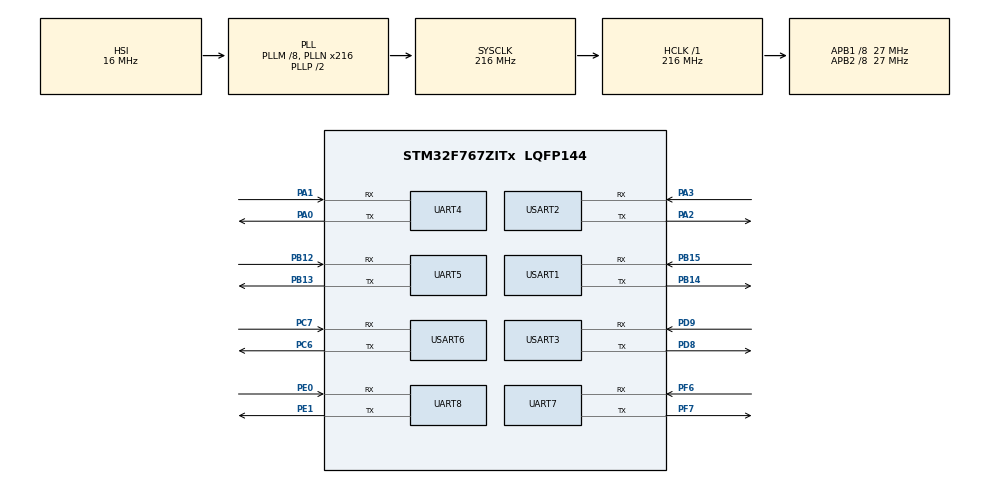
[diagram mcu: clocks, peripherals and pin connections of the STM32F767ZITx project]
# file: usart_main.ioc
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CORTEX_M7.default_mode_Activation=1
Mcu.Family=STM32F7
Mcu.Name=STM32F767ZITx
Mcu.Package=LQFP144
NVIC.PriorityGroup=NVIC_PRIORITYGROUP_4
PA0/WKUP.Mode=Asynchronous
PA0/WKUP.Signal=UART4_TX
PA1.Mode=Asynchronous
PA1.Signal=UART4_RX
PA2.Mode=Asynchronous
PA2.Signal=USART2_TX
PA3.Mode=Asynchronous
PA3.Signal=USART2_RX
PB12.Mode=Asynchronous
PB12.Signal=UART5_RX
PB13.Mode=Asynchronous
PB13.Signal=UART5_TX
PB14.Mode=Asynchronous
PB14.Signal=USART1_TX
PB15.Mode=Asynchronous
PB15.Signal=USART1_RX
PC6.Mode=Asynchronous
PC6.Signal=USART6_TX
PC7.Mode=Asynchronous
PC7.Signal=USART6_RX
PD8.Mode=Asynchronous
PD8.Signal=USART3_TX
PD9.Mode=Asynchronous
PD9.Signal=USART3_RX
PE0.Mode=Asynchronous
PE0.Signal=UART8_RX
PE1.Mode=Asynchronous
PE1.Signal=UART8_TX
PF6.Mode=Asynchronous
PF6.Signal=UART7_RX
PF7.Mode=Asynchronous
PF7.Signal=UART7_TX
ProjectManager.HeapSize=0x200
ProjectManager.StackSize=0x400
ProjectManager.TargetToolchain=STM32CubeIDE
RCC.AHBFreq_Value=216000000
RCC.APB1CLKDivider=RCC_HCLK_DIV8
RCC.APB1Freq_Value=27000000
RCC.APB1TimFreq_Value=54000000
RCC.APB2CLKDivider=RCC_HCLK_DIV8
RCC.APB2Freq_Value=27000000
RCC.APB2TimFreq_Value=54000000
RCC.CodegenConfigPeriph=true
RCC.CortexFreq_Value=216000000
RCC.DATA_CACHE_ENABLE=1
RCC.HCLKFreq_Value=216000000
RCC.HSE_VALUE=25000000
RCC.HSI_VALUE=16000000
RCC.INSTRUCTION_CACHE_ENABLE=1
RCC.LSE_Drive_CapabilityArg=+LSE_Drive_Capability
RCC.LSE_VALUE=32768
RCC.PLLM=8
RCC.PLLN=216
RCC.PREFETCH_ENABLE=1
RCC.SYSCLKFreq_VALUE=216000000
RCC.SYSCLKSource=RCC_SYSCLKSOURCE_PLLCLK
RCC.USBFreq_Value=216000000
RCC.VCOOutputFreq_Value=432000000
USART1.VirtualMode-Asynchronous=VM_ASYNC
USART2.VirtualMode-Asynchronous=VM_ASYNC
USART3.VirtualMode-Asynchronous=VM_ASYNC
USART6.VirtualMode-Asynchronous=VM_ASYNC
board=custom

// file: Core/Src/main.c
/* USER CODE BEGIN Header */
/**
  ******************************************************************************
  * @file           : main.c
  * @brief          : Main program body
  ******************************************************************************
  * @attention
  *
  * Copyright (c) 2025 STMicroelectronics.
  * All rights reserved.
  *
  * This software is licensed under terms that can be found in the LICENSE file
  * in the root directory of this software component.
  * If no LICENSE file comes with this software, it is provided AS-IS.
  *
  ******************************************************************************
  */
/* USER CODE END Header */
#include "main.h"

UART_HandleTypeDef huart4;
UART_HandleTypeDef huart5;
UART_HandleTypeDef huart7;
UART_HandleTypeDef huart8;
UART_HandleTypeDef huart1;
UART_HandleTypeDef huart2;
UART_HandleTypeDef huart3;
UART_HandleTypeDef huart6;

/* USER CODE BEGIN PV */
uint8_t MSG[35] = {'\0'};
union d_float {
  uint8_t raw_data[4];
  float value;
};
UART_HandleTypeDef* motor_controller[6];
/* USER CODE END PV */

void SystemClock_Config(void);
static void MPU_Config(void);
static void MX_GPIO_Init(void);
static void MX_UART4_Init(void);
static void MX_UART5_Init(void);
static void MX_UART7_Init(void);
static void MX_UART8_Init(void);
static void MX_USART1_UART_Init(void);
static void MX_USART2_UART_Init(void);
static void MX_USART3_UART_Init(void);
static void MX_USART6_UART_Init(void);

int main(void)
{

  /* USER CODE BEGIN 1 */
	motor_controller[0]=&huart4;
	motor_controller[1]=&huart7;
	motor_controller[2]=&huart6;
	motor_controller[3]=&huart2;
	motor_controller[4]=&huart1;
	motor_controller[5]=&huart5;
	uint8_t controllbyte;
	uint8_t buffer_down[24];
	uint8_t buffer_up[24];

  /* USER CODE END 1 */

  /* MPU Configuration--------------------------------------------------------*/
  MPU_Config();

  /* MCU Configuration--------------------------------------------------------*/

  /* Reset of all peripherals, Initializes the Flash interface and the Systick. */
  HAL_Init();

  /* Configure the system clock */
  SystemClock_Config();

  /* Initialize all configured peripherals */
  MX_GPIO_Init();
  MX_UART4_Init();
  MX_UART5_Init();
  MX_UART7_Init();
  MX_UART8_Init();
  MX_USART1_UART_Init();
  MX_USART2_UART_Init();
  MX_USART3_UART_Init();
  MX_USART6_UART_Init();
  /* USER CODE BEGIN 2 */
  for(int i=0;i<24;i++){
	  buffer_up[i]=0;
	  buffer_down[i]=0;
  }
  float temp=256.0;
  for(int i=0;i<6;i++){
	  memcpy(&buffer_up[i*4],&temp,4);
  }
  /* USER CODE END 2 */

  /* Infinite loop */
  /* USER CODE BEGIN WHILE */
  while (1)
  {
	  if(HAL_UART_Receive(&huart3,&controllbyte,1,0)==HAL_OK){
		  HAL_UART_Receive(&huart3, buffer_down, 24,100);
		  for(int i=0;i<6;i++){
				HAL_UART_Transmit(motor_controller[i], &controllbyte, 1, 100);
				HAL_UART_Transmit(motor_controller[i], &(buffer_down[i*4]), 4, 100);
		  }

	  }
	  for(int i=0;i<6;i++){
		  HAL_UART_Receive(motor_controller[i],&(buffer_up[i*4]),4,1);
	  }
	  HAL_UART_Transmit(&huart3, buffer_up, 24, 100);

    /* USER CODE END WHILE */

  }
}

void SystemClock_Config(void)
{
  RCC_OscInitTypeDef RCC_OscInitStruct = {0};
  RCC_ClkInitTypeDef RCC_ClkInitStruct = {0};

  /** Configure the main internal regulator output voltage
  */
  __HAL_RCC_PWR_CLK_ENABLE();
  __HAL_PWR_VOLTAGESCALING_CONFIG(PWR_REGULATOR_VOLTAGE_SCALE1);

  /** Initializes the RCC Oscillators according to the specified parameters
  * in the RCC_OscInitTypeDef structure.
  */
  RCC_OscInitStruct.OscillatorType = RCC_OSCILLATORTYPE_HSI;
  RCC_OscInitStruct.HSIState = RCC_HSI_ON;
  RCC_OscInitStruct.HSICalibrationValue = RCC_HSICALIBRATION_DEFAULT;
  RCC_OscInitStruct.PLL.PLLState = RCC_PLL_ON;
  RCC_OscInitStruct.PLL.PLLSource = RCC_PLLSOURCE_HSI;
  RCC_OscInitStruct.PLL.PLLM = 8;
  RCC_OscInitStruct.PLL.PLLN = 216;
  RCC_OscInitStruct.PLL.PLLP = RCC_PLLP_DIV2;
  RCC_OscInitStruct.PLL.PLLQ = 2;
  RCC_OscInitStruct.PLL.PLLR = 2;
  if (HAL_RCC_OscConfig(&RCC_OscInitStruct) != HAL_OK)
  {
    Error_Handler();
  }

  /** Activate the Over-Drive mode
  */
  if (HAL_PWREx_EnableOverDrive() != HAL_OK)
  {
    Error_Handler();
  }

  /** Initializes the CPU, AHB and APB buses clocks
  */
  RCC_ClkInitStruct.ClockType = RCC_CLOCKTYPE_HCLK|RCC_CLOCKTYPE_SYSCLK
                              |RCC_CLOCKTYPE_PCLK1|RCC_CLOCKTYPE_PCLK2;
  RCC_ClkInitStruct.SYSCLKSource = RCC_SYSCLKSOURCE_PLLCLK;
  RCC_ClkInitStruct.AHBCLKDivider = RCC_SYSCLK_DIV1;
  RCC_ClkInitStruct.APB1CLKDivider = RCC_HCLK_DIV8;
  RCC_ClkInitStruct.APB2CLKDivider = RCC_HCLK_DIV8;

  if (HAL_RCC_ClockConfig(&RCC_ClkInitStruct, FLASH_LATENCY_7) != HAL_OK)
  {
    Error_Handler();
  }
}

static void MX_UART4_Init(void)
{

  huart4.Instance = UART4;
  huart4.Init.BaudRate = 115200;
  huart4.Init.WordLength = UART_WORDLENGTH_8B;
  huart4.Init.StopBits = UART_STOPBITS_1;
  huart4.Init.Parity = UART_PARITY_NONE;
  huart4.Init.Mode = UART_MODE_TX_RX;
  huart4.Init.HwFlowCtl = UART_HWCONTROL_NONE;
  huart4.Init.OverSampling = UART_OVERSAMPLING_16;
  huart4.Init.OneBitSampling = UART_ONE_BIT_SAMPLE_DISABLE;
  huart4.AdvancedInit.AdvFeatureInit = UART_ADVFEATURE_NO_INIT;
  if (HAL_UART_Init(&huart4) != HAL_OK)
  {
    Error_Handler();
  }

}

static void MX_UART5_Init(void)
{

  huart5.Instance = UART5;
  huart5.Init.BaudRate = 115200;
  huart5.Init.WordLength = UART_WORDLENGTH_8B;
  huart5.Init.StopBits = UART_STOPBITS_1;
  huart5.Init.Parity = UART_PARITY_NONE;
  huart5.Init.Mode = UART_MODE_TX_RX;
  huart5.Init.HwFlowCtl = UART_HWCONTROL_NONE;
  huart5.Init.OverSampling = UART_OVERSAMPLING_16;
  huart5.Init.OneBitSampling = UART_ONE_BIT_SAMPLE_DISABLE;
  huart5.AdvancedInit.AdvFeatureInit = UART_ADVFEATURE_NO_INIT;
  if (HAL_UART_Init(&huart5) != HAL_OK)
  {
    Error_Handler();
  }

}

static void MX_UART7_Init(void)
{

  huart7.Instance = UART7;
  huart7.Init.BaudRate = 115200;
  huart7.Init.WordLength = UART_WORDLENGTH_8B;
  huart7.Init.StopBits = UART_STOPBITS_1;
  huart7.Init.Parity = UART_PARITY_NONE;
  huart7.Init.Mode = UART_MODE_TX_RX;
  huart7.Init.HwFlowCtl = UART_HWCONTROL_NONE;
  huart7.Init.OverSampling = UART_OVERSAMPLING_16;
  huart7.Init.OneBitSampling = UART_ONE_BIT_SAMPLE_DISABLE;
  huart7.AdvancedInit.AdvFeatureInit = UART_ADVFEATURE_NO_INIT;
  if (HAL_UART_Init(&huart7) != HAL_OK)
  {
    Error_Handler();
  }

}

static void MX_UART8_Init(void)
{

  huart8.Instance = UART8;
  huart8.Init.BaudRate = 115200;
  huart8.Init.WordLength = UART_WORDLENGTH_8B;
  huart8.Init.StopBits = UART_STOPBITS_1;
  huart8.Init.Parity = UART_PARITY_NONE;
  huart8.Init.Mode = UART_MODE_TX_RX;
  huart8.Init.HwFlowCtl = UART_HWCONTROL_NONE;
  huart8.Init.OverSampling = UART_OVERSAMPLING_16;
  huart8.Init.OneBitSampling = UART_ONE_BIT_SAMPLE_DISABLE;
  huart8.AdvancedInit.AdvFeatureInit = UART_ADVFEATURE_NO_INIT;
  if (HAL_UART_Init(&huart8) != HAL_OK)
  {
    Error_Handler();
  }

}

static void MX_USART1_UART_Init(void)
{

  huart1.Instance = USART1;
  huart1.Init.BaudRate = 115200;
  huart1.Init.WordLength = UART_WORDLENGTH_8B;
  huart1.Init.StopBits = UART_STOPBITS_1;
  huart1.Init.Parity = UART_PARITY_NONE;
  huart1.Init.Mode = UART_MODE_TX_RX;
  huart1.Init.HwFlowCtl = UART_HWCONTROL_NONE;
  huart1.Init.OverSampling = UART_OVERSAMPLING_16;
  huart1.Init.OneBitSampling = UART_ONE_BIT_SAMPLE_DISABLE;
  huart1.AdvancedInit.AdvFeatureInit = UART_ADVFEATURE_NO_INIT;
  if (HAL_UART_Init(&huart1) != HAL_OK)
  {
    Error_Handler();
  }

}

static void MX_USART2_UART_Init(void)
{

  huart2.Instance = USART2;
  huart2.Init.BaudRate = 115200;
  huart2.Init.WordLength = UART_WORDLENGTH_8B;
  huart2.Init.StopBits = UART_STOPBITS_1;
  huart2.Init.Parity = UART_PARITY_NONE;
  huart2.Init.Mode = UART_MODE_TX_RX;
  huart2.Init.HwFlowCtl = UART_HWCONTROL_NONE;
  huart2.Init.OverSampling = UART_OVERSAMPLING_16;
  huart2.Init.OneBitSampling = UART_ONE_BIT_SAMPLE_DISABLE;
  huart2.AdvancedInit.AdvFeatureInit = UART_ADVFEATURE_NO_INIT;
  if (HAL_UART_Init(&huart2) != HAL_OK)
  {
    Error_Handler();
  }

}

static void MX_USART3_UART_Init(void)
{

  huart3.Instance = USART3;
  huart3.Init.BaudRate = 115200;
  huart3.Init.WordLength = UART_WORDLENGTH_8B;
  huart3.Init.StopBits = UART_STOPBITS_1;
  huart3.Init.Parity = UART_PARITY_NONE;
  huart3.Init.Mode = UART_MODE_TX_RX;
  huart3.Init.HwFlowCtl = UART_HWCONTROL_NONE;
  huart3.Init.OverSampling = UART_OVERSAMPLING_16;
  huart3.Init.OneBitSampling = UART_ONE_BIT_SAMPLE_DISABLE;
  huart3.AdvancedInit.AdvFeatureInit = UART_ADVFEATURE_NO_INIT;
  if (HAL_UART_Init(&huart3) != HAL_OK)
  {
    Error_Handler();
  }

}

static void MX_USART6_UART_Init(void)
{

  huart6.Instance = USART6;
  huart6.Init.BaudRate = 115200;
  huart6.Init.WordLength = UART_WORDLENGTH_8B;
  huart6.Init.StopBits = UART_STOPBITS_1;
  huart6.Init.Parity = UART_PARITY_NONE;
  huart6.Init.Mode = UART_MODE_TX_RX;
  huart6.Init.HwFlowCtl = UART_HWCONTROL_NONE;
  huart6.Init.OverSampling = UART_OVERSAMPLING_16;
  huart6.Init.OneBitSampling = UART_ONE_BIT_SAMPLE_DISABLE;
  huart6.AdvancedInit.AdvFeatureInit = UART_ADVFEATURE_NO_INIT;
  if (HAL_UART_Init(&huart6) != HAL_OK)
  {
    Error_Handler();
  }

}

static void MX_GPIO_Init(void)
{

  /* GPIO Ports Clock Enable */
  __HAL_RCC_GPIOF_CLK_ENABLE();
  __HAL_RCC_GPIOA_CLK_ENABLE();
  __HAL_RCC_GPIOB_CLK_ENABLE();
  __HAL_RCC_GPIOD_CLK_ENABLE();
  __HAL_RCC_GPIOC_CLK_ENABLE();
  __HAL_RCC_GPIOE_CLK_ENABLE();

}

 /* MPU Configuration */

void MPU_Config(void)
{
  MPU_Region_InitTypeDef MPU_InitStruct = {0};

  /* Disables the MPU */
  HAL_MPU_Disable();

  /** Initializes and configures the Region and the memory to be protected
  */
  MPU_InitStruct.Enable = MPU_REGION_ENABLE;
  MPU_InitStruct.Number = MPU_REGION_NUMBER0;
  MPU_InitStruct.BaseAddress = 0x0;
  MPU_InitStruct.Size = MPU_REGION_SIZE_4GB;
  MPU_InitStruct.SubRegionDisable = 0x87;
  MPU_InitStruct.TypeExtField = MPU_TEX_LEVEL0;
  MPU_InitStruct.AccessPermission = MPU_REGION_NO_ACCESS;
  MPU_InitStruct.DisableExec = MPU_INSTRUCTION_ACCESS_DISABLE;
  MPU_InitStruct.IsShareable = MPU_ACCESS_SHAREABLE;
  MPU_InitStruct.IsCacheable = MPU_ACCESS_NOT_CACHEABLE;
  MPU_InitStruct.IsBufferable = MPU_ACCESS_NOT_BUFFERABLE;

  HAL_MPU_ConfigRegion(&MPU_InitStruct);
  /* Enables the MPU */
  HAL_MPU_Enable(MPU_PRIVILEGED_DEFAULT);

}

void Error_Handler(void)
{
  __disable_irq();
  while (1)
  {
  }
}
